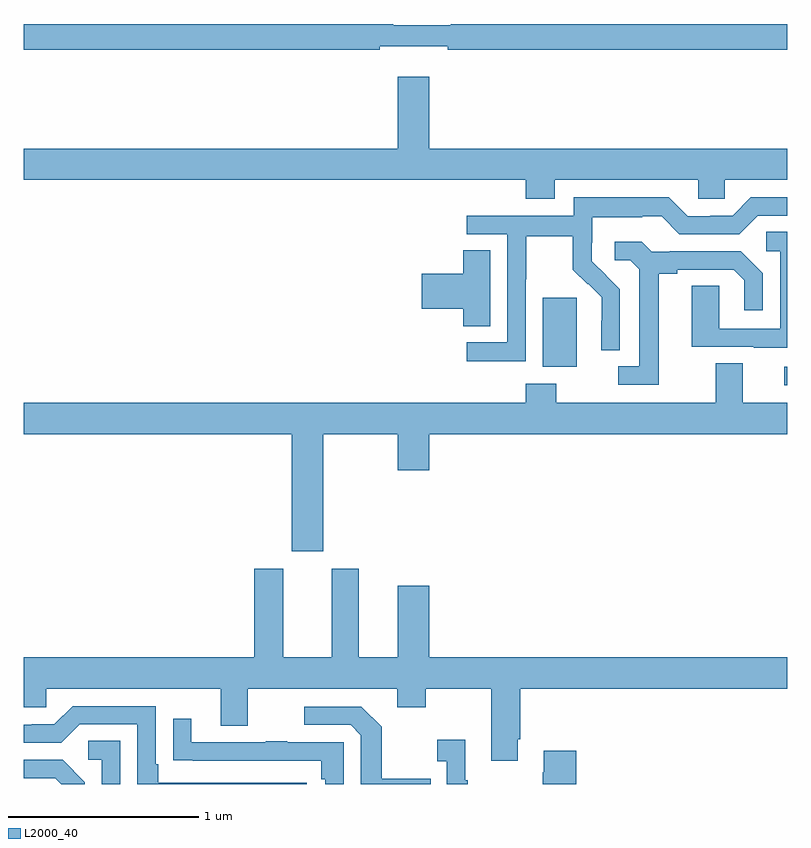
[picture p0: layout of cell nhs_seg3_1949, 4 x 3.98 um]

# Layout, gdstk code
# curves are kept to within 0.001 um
import gdstk
lib = gdstk.Library(unit=1e-6, precision=1e-09)
def R(c, l, rs):  # rectangles x0, y0, x1, y1
    for r in rs: c.add(gdstk.rectangle(r[:2], r[2:], *l))
def P(c, l, *ps):  # polygons
    for p in ps: c.add(gdstk.Polygon(p, *l))
L2000_40 = (2000, 40)

nhs_seg3_1949 = lib.new_cell('nhs_seg3_1949')
R(nhs_seg3_1949, L2000_40, [(214.983,718.488,215,718.584), (213.719,718.586,213.898,718.947)])
P(nhs_seg3_1949, L2000_40, [(212.864,720.263),(213.22,720.263),(213.22,720.244),(215,720.244),(215,720.38),(213.236,720.38),(213.236,720.373),(212.936,720.373),(212.936,720.38),(211,720.38),(211,720.244),(212.864,720.244)],
  [(213.781,719.564),(214.533,719.564),(214.533,719.466),(214.671,719.466),(214.671,719.564),(215,719.564),(215,719.728),(213.124,719.728),(213.124,720.103),(212.96,720.103),(212.96,719.728),(211,719.728),(211,719.564),(213.629,719.564),(213.629,719.465),(213.781,719.465)],
  [(213.63,719.044),(213.633,719.044),(213.633,719.268),(213.877,719.268),(213.877,719.093),(213.954,719.016),(213.957,719.019),(214.028,718.949),(214.028,718.826),(214.026,718.826),(214.026,718.672),(214.122,718.672),(214.122,718.99),(213.976,719.138),(213.976,719.235),(213.978,719.235),(213.978,719.369),(214.241,719.369),(214.241,719.373),(214.341,719.373),(214.434,719.28),(214.749,719.28),(214.845,719.376),(215,719.376),(215,719.472),(214.809,719.472),(214.713,719.376),(214.595,719.376),(214.595,719.373),(214.479,719.373),(214.379,719.473),(213.882,719.473),(213.882,719.376),(213.321,719.376),(213.321,719.28),(213.534,719.28),(213.534,718.713),(213.321,718.713),(213.321,718.615),(213.63,718.615)],
  [(215,719.291),(214.89,719.291),(214.89,719.19),(214.962,719.19),(214.962,718.785),(214.644,718.785),(214.644,719.009),(214.499,719.009),(214.499,718.689),(214.823,718.689),(214.823,718.685),(215,718.685)],
  [(214.327,719.072),(214.423,719.072),(214.423,719.094),(214.718,719.094),(214.775,719.037),(214.775,718.881),(214.872,718.881),(214.872,719.074),(214.756,719.19),(214.384,719.19),(214.384,719.187),(214.29,719.187),(214.238,719.239),(214.095,719.239),(214.095,719.142),(214.176,719.142),(214.223,719.095),(214.223,718.587),(214.113,718.587),(214.113,718.491),(214.327,718.491)],
  [(213.445,719.195),(213.302,719.195),(213.302,719.072),(213.084,719.072),(213.084,718.889),(213.302,718.889),(213.302,718.798),(213.445,718.798)],
  [(212.569,718.232),(212.96,718.232),(212.96,718.044),(213.124,718.044),(213.124,718.232),(215,718.232),(215,718.396),(214.765,718.396),(214.765,718.604),(214.625,718.604),(214.625,718.396),(213.789,718.396),(213.789,718.495),(213.629,718.495),(213.629,718.396),(211,718.396),(211,718.232),(212.405,718.232),(212.405,717.618),(212.569,717.618)],
  [(213.589,716.635),(213.602,716.635),(213.602,716.9),(215,716.9),(215,717.064),(213.124,717.064),(213.124,717.439),(212.96,717.439),(212.96,717.064),(212.755,717.064),(212.755,717.526),(212.615,717.526),(212.615,717.064),(212.359,717.064),(212.359,717.526),(212.207,717.526),(212.207,717.064),(211,717.064),(211,716.802),(211.119,716.802),(211.119,716.9),(212.033,716.9),(212.033,716.706),(212.173,716.706),(212.173,716.9),(212.957,716.9),(212.957,716.801),(213.105,716.801),(213.105,716.9),(213.449,716.9),(213.449,716.523),(213.589,716.523)],
  [(212.482,716.406),(211.705,716.406),(211.705,716.503),(211.692,716.503),(211.692,716.808),(211.257,716.808),(211.161,716.712),(211.043,716.712),(211.043,716.709),(211,716.709),(211,716.616),(211.197,716.616),(211.293,716.712),(211.596,716.712),(211.596,716.4),(212.482,716.4)],
  [(213.131,716.427),(212.875,716.427),(212.875,716.699),(212.769,716.805),(212.469,716.805),(212.469,716.709),(212.712,716.709),(212.766,716.655),(212.766,716.4),(213.131,716.4)],
  [(212.676,716.619),(212.381,716.619),(212.381,716.624),(212.269,716.624),(212.269,716.619),(211.879,716.619),(211.879,716.743),(211.783,716.743),(211.783,716.524),(211.885,716.524),(211.885,716.523),(212.56,716.523),(212.56,716.426),(212.58,716.426),(212.58,716.4),(212.676,716.4)],
  [(213.325,716.419),(213.313,716.419),(213.313,716.632),(213.165,716.632),(213.165,716.519),(213.216,716.519),(213.216,716.4),(213.325,716.4)],
  [(211.506,716.627),(211.338,716.627),(211.338,716.526),(211.41,716.526),(211.41,716.4),(211.506,716.4)],
  [(213.893,716.575),(213.725,716.575),(213.725,716.462),(213.718,716.462),(213.718,716.4),(213.893,716.4)],
  [(211.32,716.41),(211.204,716.526),(211,716.526),(211,716.43),(211.166,716.43),(211.196,716.4),(211.32,716.4)])

lib.write_gds('nhs_seg3_1949.gds')
